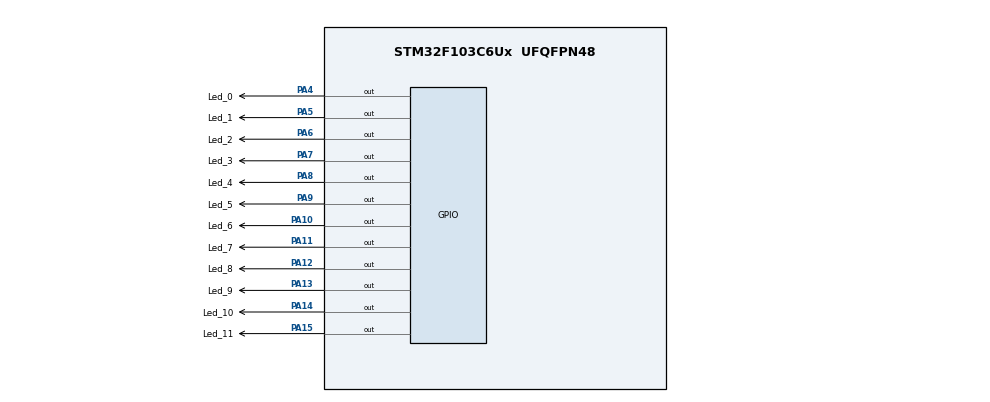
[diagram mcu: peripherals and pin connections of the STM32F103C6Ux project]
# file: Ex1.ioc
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Mcu.Family=STM32F1
Mcu.Name=STM32F103C6Ux
Mcu.Package=UFQFPN48
NVIC.PriorityGroup=NVIC_PRIORITYGROUP_4
PA10.GPIO_Label=Led_6
PA10.Signal=GPIO_Output
PA11.GPIO_Label=Led_7
PA11.Signal=GPIO_Output
PA12.GPIO_Label=Led_8
PA12.Signal=GPIO_Output
PA13.GPIO_Label=Led_9
PA13.Signal=GPIO_Output
PA14.GPIO_Label=Led_10
PA14.Signal=GPIO_Output
PA15.GPIO_Label=Led_11
PA15.Signal=GPIO_Output
PA4.GPIO_Label=Led_0
PA4.Signal=GPIO_Output
PA5.GPIO_Label=Led_1
PA5.Signal=GPIO_Output
PA6.GPIO_Label=Led_2
PA6.Signal=GPIO_Output
PA7.GPIO_Label=Led_3
PA7.Signal=GPIO_Output
PA8.GPIO_Label=Led_4
PA8.Signal=GPIO_Output
PA9.GPIO_Label=Led_5
PA9.Signal=GPIO_Output
ProjectManager.HeapSize=0x200
ProjectManager.StackSize=0x400
ProjectManager.TargetToolchain=STM32CubeIDE
RCC.APB1Freq_Value=8000000
RCC.APB2Freq_Value=8000000
board=custom

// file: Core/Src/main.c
/* USER CODE BEGIN Header */
/**
  ******************************************************************************
  * @file           : main.c
  * @brief          : Main program body
  ******************************************************************************
  * @attention
  *
  * Copyright (c) 2022 STMicroelectronics.
  * All rights reserved.
  *
  * This software is licensed under terms that can be found in the LICENSE file
  * in the root directory of this software component.
  * If no LICENSE file comes with this software, it is provided AS-IS.
  *
  ******************************************************************************
  */
/* USER CODE END Header */
#include "main.h"

void SystemClock_Config(void);
static void MX_GPIO_Init(void);

/* USER CODE BEGIN 0 */
void clearAllClock(){
	HAL_GPIO_WritePin(Led_0_GPIO_Port, Led_0_Pin, 1);
	HAL_GPIO_WritePin(Led_1_GPIO_Port, Led_1_Pin, 1);
	HAL_GPIO_WritePin(Led_2_GPIO_Port, Led_2_Pin, 1);
	HAL_GPIO_WritePin(Led_3_GPIO_Port, Led_3_Pin, 1);
	HAL_GPIO_WritePin(Led_4_GPIO_Port, Led_4_Pin, 1);
	HAL_GPIO_WritePin(Led_5_GPIO_Port, Led_5_Pin, 1);
	HAL_GPIO_WritePin(Led_6_GPIO_Port, Led_6_Pin, 1);
	HAL_GPIO_WritePin(Led_7_GPIO_Port, Led_7_Pin, 1);
	HAL_GPIO_WritePin(Led_8_GPIO_Port, Led_8_Pin, 1);
	HAL_GPIO_WritePin(Led_9_GPIO_Port, Led_9_Pin, 1);
	HAL_GPIO_WritePin(Led_10_GPIO_Port, Led_10_Pin,1);
	HAL_GPIO_WritePin(Led_11_GPIO_Port, Led_11_Pin, 1);
}
void setNumberOnClock(int num){
	switch (num){
		case 0:
			HAL_GPIO_WritePin(Led_0_GPIO_Port, Led_0_Pin, 0);
			break;
		case 1:
			HAL_GPIO_WritePin(Led_1_GPIO_Port, Led_1_Pin, 0);
			break;
		case 2:
			HAL_GPIO_WritePin(Led_2_GPIO_Port, Led_2_Pin, 0);
			break;
		case 3:
			HAL_GPIO_WritePin(Led_3_GPIO_Port, Led_3_Pin, 0);
			break;
		case 4:
			HAL_GPIO_WritePin(Led_4_GPIO_Port, Led_4_Pin, 0);
			break;
		case 5:
			HAL_GPIO_WritePin(Led_5_GPIO_Port, Led_5_Pin, 0);
			break;
		case 6:
			HAL_GPIO_WritePin(Led_6_GPIO_Port, Led_6_Pin, 0);
			break;
		case 7:
			HAL_GPIO_WritePin(Led_7_GPIO_Port, Led_7_Pin, 0);
			break;
		case 8:
			HAL_GPIO_WritePin(Led_8_GPIO_Port, Led_8_Pin, 0);
			break;
		case 9:
			HAL_GPIO_WritePin(Led_9_GPIO_Port, Led_9_Pin, 0);
			break;
		case 10:
			HAL_GPIO_WritePin(Led_10_GPIO_Port, Led_10_Pin, 0);
			break;
		default:
			HAL_GPIO_WritePin(Led_11_GPIO_Port, Led_11_Pin, 0);
			break;

	}
}

void clearNumberOnClock(int num){
	switch (num){
		case 0:
			HAL_GPIO_WritePin(Led_0_GPIO_Port, Led_0_Pin, 1);
			break;
		case 1:
			HAL_GPIO_WritePin(Led_1_GPIO_Port, Led_1_Pin, 1);
			break;
		case 2:
			HAL_GPIO_WritePin(Led_2_GPIO_Port, Led_2_Pin, 1);
			break;
		case 3:
			HAL_GPIO_WritePin(Led_3_GPIO_Port, Led_3_Pin, 1);
			break;
		case 4:
			HAL_GPIO_WritePin(Led_4_GPIO_Port, Led_4_Pin, 1);
			break;
		case 5:
			HAL_GPIO_WritePin(Led_5_GPIO_Port, Led_5_Pin, 1);
			break;
		case 6:
			HAL_GPIO_WritePin(Led_6_GPIO_Port, Led_6_Pin, 1);
			break;
		case 7:
			HAL_GPIO_WritePin(Led_7_GPIO_Port, Led_7_Pin, 1);
			break;
		case 8:
			HAL_GPIO_WritePin(Led_8_GPIO_Port, Led_8_Pin, 1);
			break;
		case 9:
			HAL_GPIO_WritePin(Led_9_GPIO_Port, Led_9_Pin, 1);
			break;
		case 10:
			HAL_GPIO_WritePin(Led_10_GPIO_Port, Led_10_Pin, 1);
			break;
		default:
			HAL_GPIO_WritePin(Led_11_GPIO_Port, Led_11_Pin, 1);
			break;

	}
}

/* USER CODE END 0 */

int main(void)
{

  /* MCU Configuration--------------------------------------------------------*/

  /* Reset of all peripherals, Initializes the Flash interface and the Systick. */
  HAL_Init();

  /* Configure the system clock */
  SystemClock_Config();

  /* Initialize all configured peripherals */
  MX_GPIO_Init();
  /* USER CODE BEGIN 2 */
  clearAllClock();
  /* USER CODE END 2 */

  /* Infinite loop */
  /* USER CODE BEGIN WHILE */
  int hour = 0;
  int minute = 0;
  int second = 0;
  while (1)
  {

	  if (second == 60){
		  minute++;
		  second = 0;
	  }
	  if (minute == 60){
		  hour ++;
		  minute = 0;
	  }
	  if (hour == 12){
		  hour = 0;
	  }
	  clearAllClock();
	  setNumberOnClock((second++) / 5);
	  setNumberOnClock(minute / 5);
	  setNumberOnClock(hour);
	  HAL_Delay(1000);

    /* USER CODE END WHILE */

  }
}

void SystemClock_Config(void)
{
  RCC_OscInitTypeDef RCC_OscInitStruct = {0};
  RCC_ClkInitTypeDef RCC_ClkInitStruct = {0};

  /** Initializes the RCC Oscillators according to the specified parameters
  * in the RCC_OscInitTypeDef structure.
  */
  RCC_OscInitStruct.OscillatorType = RCC_OSCILLATORTYPE_HSI;
  RCC_OscInitStruct.HSIState = RCC_HSI_ON;
  RCC_OscInitStruct.HSICalibrationValue = RCC_HSICALIBRATION_DEFAULT;
  RCC_OscInitStruct.PLL.PLLState = RCC_PLL_NONE;
  if (HAL_RCC_OscConfig(&RCC_OscInitStruct) != HAL_OK)
  {
    Error_Handler();
  }

  /** Initializes the CPU, AHB and APB buses clocks
  */
  RCC_ClkInitStruct.ClockType = RCC_CLOCKTYPE_HCLK|RCC_CLOCKTYPE_SYSCLK
                              |RCC_CLOCKTYPE_PCLK1|RCC_CLOCKTYPE_PCLK2;
  RCC_ClkInitStruct.SYSCLKSource = RCC_SYSCLKSOURCE_HSI;
  RCC_ClkInitStruct.AHBCLKDivider = RCC_SYSCLK_DIV1;
  RCC_ClkInitStruct.APB1CLKDivider = RCC_HCLK_DIV1;
  RCC_ClkInitStruct.APB2CLKDivider = RCC_HCLK_DIV1;

  if (HAL_RCC_ClockConfig(&RCC_ClkInitStruct, FLASH_LATENCY_0) != HAL_OK)
  {
    Error_Handler();
  }
}

static void MX_GPIO_Init(void)
{
  GPIO_InitTypeDef GPIO_InitStruct = {0};

  /* GPIO Ports Clock Enable */
  __HAL_RCC_GPIOA_CLK_ENABLE();

  /*Configure GPIO pin Output Level */
  HAL_GPIO_WritePin(GPIOA, Led_0_Pin|Led_1_Pin|Led_2_Pin|Led_3_Pin
                          |Led_4_Pin|Led_5_Pin|Led_6_Pin|Led_7_Pin
                          |Led_8_Pin|Led_9_Pin|Led_10_Pin|Led_11_Pin, GPIO_PIN_RESET);

  /*Configure GPIO pins : Led_0_Pin Led_1_Pin Led_2_Pin Led_3_Pin
                           Led_4_Pin Led_5_Pin Led_6_Pin Led_7_Pin
                           Led_8_Pin Led_9_Pin Led_10_Pin Led_11_Pin */
  GPIO_InitStruct.Pin = Led_0_Pin|Led_1_Pin|Led_2_Pin|Led_3_Pin
                          |Led_4_Pin|Led_5_Pin|Led_6_Pin|Led_7_Pin
                          |Led_8_Pin|Led_9_Pin|Led_10_Pin|Led_11_Pin;
  GPIO_InitStruct.Mode = GPIO_MODE_OUTPUT_PP;
  GPIO_InitStruct.Pull = GPIO_NOPULL;
  GPIO_InitStruct.Speed = GPIO_SPEED_FREQ_LOW;
  HAL_GPIO_Init(GPIOA, &GPIO_InitStruct);

}

void Error_Handler(void)
{
  __disable_irq();
  while (1)
  {
  }
}
